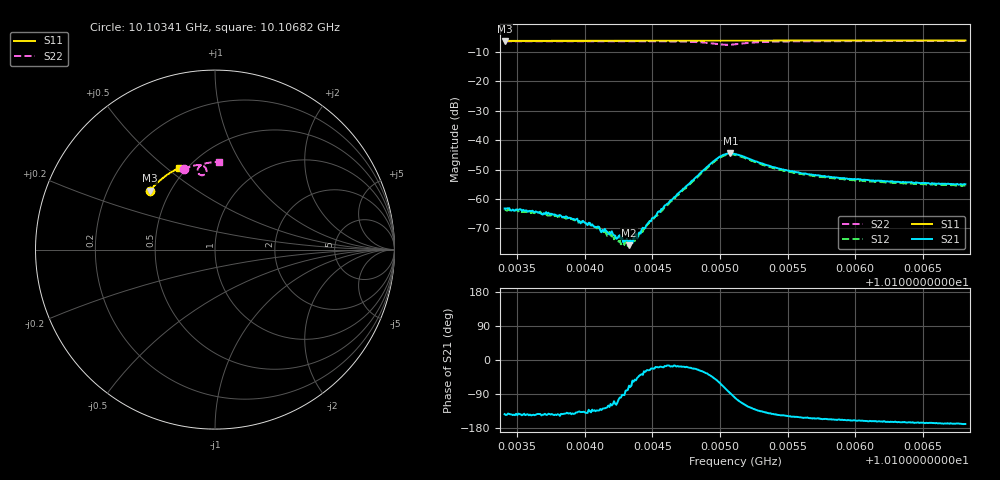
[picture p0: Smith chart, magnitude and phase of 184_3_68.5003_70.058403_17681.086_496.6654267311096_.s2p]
#  HZ  S  RI  R  50.00
! Rohde & Schwarz Vector Network Analyzer
! Rohde-Schwarz,ZNB20-2Port,1311601062101988,3.16
! Created: UTC 3/20/2024, 5:11:58 PM
! freq[Hz]  re:S11  im:S11  re:S21  im:S21  re:S12  im:S12  re:S22  im:S22
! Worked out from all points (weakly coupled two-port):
!   401 points, 10.10341 GHz to 10.10682 GHz, reference 50 ohm
!   highest |S21| = -44.49 dB at 10.10508 GHz (marker M1); lowest = -75.8 dB at 10.10433 GHz (marker M2)
!   lowest |S11| = -6.2 dB at 10.10341 GHz (marker M3), VSWR 2.91, Z = 19.4 + j16.7 ohm
!   |S11| at or under -10 dB: nowhere
!   |S22| runs from -7.5 to -6.2 dB; largest |S21 - S12| = 0.00062
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1.0103406e10  -0.3628 0.328  -0.000548 -0.000417  -0.000486 -0.000464  -0.1754 0.4483
1.0103653e10  -0.3531 0.3394  -0.000465 -0.00036  -0.000457 -0.00038  -0.1599 0.4546
1.010373e10  -0.3499 0.343  -0.000461 -0.000363  -0.000388 -0.000349  -0.1552 0.4564
1.0103832e10  -0.3458 0.3476  -0.000389 -0.000295  -0.000382 -0.000337  -0.1484 0.4589
1.0103977e10  -0.3397 0.3541  -0.000301 -0.000277  -0.000273 -0.000313  -0.1386 0.4621
1.0104045e10  -0.337 0.3571  -0.000265 -0.000237  -0.000227 -0.000281  -0.1338 0.4637
1.0104122e10  -0.3337 0.3603  -0.000182 -0.000203  -0.000178 -0.00023  -0.1284 0.4653
1.010419e10  -0.3306 0.3633  -0.000115 -0.000236  -9.74e-05 -0.000231  -0.1234 0.4664
1.0104275e10  -0.3271 0.3669  -7.78e-06 -0.000222  5.58e-07 -0.000182  -0.1169 0.468
1.0104327e10  -0.3248 0.3691  6.19e-05 -0.000151  8.98e-05 -0.000161  -0.1129 0.4689
1.0104344e10  -0.324 0.3699  7.25e-05 -0.000178  0.0001 -0.000189  -0.1115 0.4691
1.0104412e10  -0.3211 0.3726  0.000201 -0.000164  0.000221 -0.000136  -0.1061 0.4703
1.0104471e10  -0.3184 0.3752  0.000355 -0.000183  0.000351 -0.000152  -0.1007 0.4708
1.0104548e10  -0.3149 0.3782  0.000581 -0.000205  0.000558 -0.00015  -0.0935 0.4714
1.0104949e10  -0.2963 0.394  0.00301 -0.00313  0.00316 -0.00271  -0.0475 0.4392
1.0105017e10  -0.2931 0.3964  0.00213 -0.00508  0.0025 -0.0047  -0.0567 0.4194
1.0105077e10  -0.2903 0.3985  0.000166 -0.00596  0.00067 -0.0057  -0.0774 0.4144
1.0105111e10  -0.289 0.3999  -0.000991 -0.00574  -0.000436 -0.00561  -0.0879 0.4193
1.0105401e10  -0.2751 0.4109  -0.00277 -0.00207  -0.00249 -0.00223  -0.0821 0.4676
1.0105682e10  -0.2612 0.4206  -0.00232 -0.00112  -0.00213 -0.0013  -0.0574 0.4793
1.0106253e10  -0.2319 0.4389  -0.00191 -0.000561  -0.00176 -0.000708  -0.015 0.4868
1.0106815e10  -0.2018 0.4549  -0.00175 -0.000346  -0.00163 -0.000488  0.0231 0.4887
